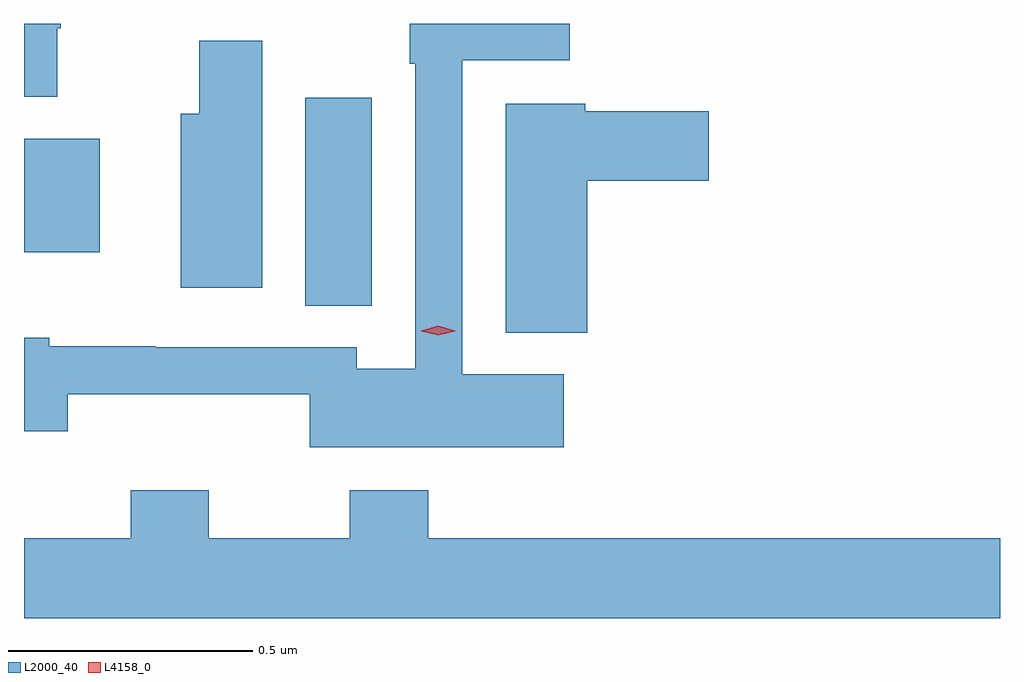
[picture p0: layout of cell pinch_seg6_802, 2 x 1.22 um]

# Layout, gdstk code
import gdstk
lib = gdstk.Library(unit=1e-6, precision=1e-09)
def R(c, l, rs):  # rectangles x0, y0, x1, y1
    for r in rs: c.add(gdstk.rectangle(r[:2], r[2:], *l))
def P(c, l, *ps):  # polygons
    for p in ps: c.add(gdstk.Polygon(p, *l))
L2000_40 = (2000, 40)
L4158_0 = (4158, 0)

pinch_seg6_802 = lib.new_cell('pinch_seg6_802')
R(pinch_seg6_802, L2000_40, [(371.588,969.289,371.725,969.715), (371.012,969.398,371.167,969.631)])
P(pinch_seg6_802, L2000_40, [(371.08,969.857),(371.087,969.857),(371.087,969.867),(371.012,969.867),(371.012,969.717),(371.08,969.717)],
  [(372.118,969.148),(371.91,969.148),(371.91,969.792),(372.13,969.792),(372.13,969.867),(371.802,969.867),(371.802,969.785),(371.814,969.785),(371.814,969.16),(371.694,969.16),(371.694,969.204),(371.282,969.204),(371.282,969.206),(371.064,969.206),(371.064,969.223),(371.012,969.223),(371.012,969.032),(371.102,969.032),(371.102,969.107),(371.598,969.107),(371.598,968.999),(372.118,968.999)],
  [(371.5,969.832),(371.371,969.832),(371.371,969.682),(371.333,969.682),(371.333,969.326),(371.5,969.326)],
  [(372.166,969.545),(372.415,969.545),(372.415,969.687),(372.162,969.687),(372.162,969.703),(371.999,969.703),(371.999,969.233),(372.166,969.233)],
  [(373.012,968.812),(371.84,968.812),(371.84,968.911),(371.68,968.911),(371.68,968.812),(371.391,968.812),(371.391,968.911),(371.231,968.911),(371.231,968.812),(371.012,968.812),(371.012,968.648),(373.012,968.648)])
P(pinch_seg6_802, L4158_0, [(371.861,969.228),(371.826,969.237),(371.826,969.238),(371.826,969.238),(371.861,969.248),(371.896,969.238),(371.896,969.238),(371.896,969.237)])

lib.write_gds('pinch_seg6_802.gds')
